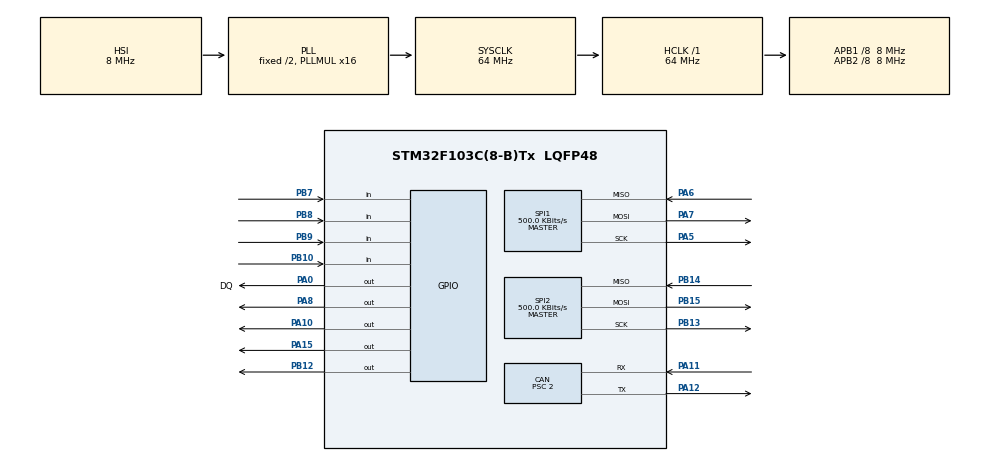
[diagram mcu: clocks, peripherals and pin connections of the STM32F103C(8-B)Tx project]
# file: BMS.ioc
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CAN.BS1=CAN_BS1_4TQ
CAN.BS2=CAN_BS2_3TQ
CAN.CalculateBaudRate=500000
CAN.CalculateTimeBit=2000
CAN.CalculateTimeQuantum=250.0
CAN.Prescaler=2
Mcu.Family=STM32F1
Mcu.Name=STM32F103C(8-B)Tx
Mcu.Package=LQFP48
NVIC.PriorityGroup=NVIC_PRIORITYGROUP_4
NVIC.TIM2_IRQn=true\:0\:0\:false\:false\:true\:true\:true\:true
NVIC.USB_LP_CAN1_RX0_IRQn=true\:0\:0\:false\:false\:true\:true\:true\:true
PA0-WKUP.GPIO_Label=DQ
PA0-WKUP.Signal=GPIO_Output
PA10.Signal=GPIO_Output
PA11.Mode=CAN_Activate
PA11.Signal=CAN_RX
PA12.Mode=CAN_Activate
PA12.Signal=CAN_TX
PA13.Mode=Trace_Asynchronous_SW
PA13.Signal=SYS_JTMS-SWDIO
PA14.Mode=Trace_Asynchronous_SW
PA14.Signal=SYS_JTCK-SWCLK
PA15.Signal=GPIO_Output
PA5.Mode=Full_Duplex_Master
PA5.Signal=SPI1_SCK
PA6.Mode=Full_Duplex_Master
PA6.Signal=SPI1_MISO
PA7.Mode=Full_Duplex_Master
PA7.Signal=SPI1_MOSI
PA8.PinState=GPIO_PIN_SET
PA8.Signal=GPIO_Output
PB10.GPIO_PuPd=GPIO_PULLUP
PB10.Signal=GPIO_Input
PB12.PinState=GPIO_PIN_SET
PB12.Signal=GPIO_Output
PB13.Mode=Full_Duplex_Master
PB13.Signal=SPI2_SCK
PB14.Mode=Full_Duplex_Master
PB14.Signal=SPI2_MISO
PB15.Mode=Full_Duplex_Master
PB15.Signal=SPI2_MOSI
PB3.Mode=Trace_Asynchronous_SW
PB3.Signal=SYS_JTDO-TRACESWO
PB7.GPIO_PuPd=GPIO_PULLUP
PB7.Signal=GPIO_Input
PB8.GPIO_PuPd=GPIO_PULLUP
PB8.Signal=GPIO_Input
PB9.GPIO_PuPd=GPIO_PULLUP
PB9.Signal=GPIO_Input
PD0-OSC_IN.Mode=HSE-External-Oscillator
PD0-OSC_IN.Signal=RCC_OSC_IN
PD1-OSC_OUT.Mode=HSE-External-Oscillator
PD1-OSC_OUT.Signal=RCC_OSC_OUT
ProjectManager.HeapSize=0x200
ProjectManager.StackSize=0x400
ProjectManager.TargetToolchain=STM32CubeIDE
RCC.AHBFreq_Value=64000000
RCC.APB1CLKDivider=RCC_HCLK_DIV8
RCC.APB1Freq_Value=8000000
RCC.APB1TimFreq_Value=16000000
RCC.APB2CLKDivider=RCC_HCLK_DIV8
RCC.APB2Freq_Value=8000000
RCC.APB2TimFreq_Value=16000000
RCC.HCLKFreq_Value=64000000
RCC.PLLMUL=RCC_PLL_MUL16
RCC.SYSCLKFreq_VALUE=64000000
RCC.SYSCLKSource=RCC_SYSCLKSOURCE_PLLCLK
RCC.USBFreq_Value=64000000
SPI1.BaudRatePrescaler=SPI_BAUDRATEPRESCALER_16
SPI1.CLKPhase=SPI_PHASE_2EDGE
SPI1.CLKPolarity=SPI_POLARITY_HIGH
SPI1.CRCCalculation=SPI_CRCCALCULATION_DISABLE
SPI1.CalculateBaudRate=500.0 KBits/s
SPI1.Direction=SPI_DIRECTION_2LINES
SPI1.Mode=SPI_MODE_MASTER
SPI1.VirtualType=VM_MASTER
SPI2.BaudRatePrescaler=SPI_BAUDRATEPRESCALER_16
SPI2.CLKPhase=SPI_PHASE_2EDGE
SPI2.CLKPolarity=SPI_POLARITY_HIGH
SPI2.CalculateBaudRate=500.0 KBits/s
SPI2.Direction=SPI_DIRECTION_2LINES
SPI2.Mode=SPI_MODE_MASTER
SPI2.VirtualType=VM_MASTER
TIM1.Prescaler=16-1
TIM2.Period=200 - 1
TIM2.Prescaler=64000 - 1
VP_TIM1_VS_ClockSourceINT.Mode=Internal
VP_TIM2_VS_ClockSourceINT.Mode=Internal
board=custom

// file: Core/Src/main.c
/* USER CODE BEGIN Header */
/**
 ******************************************************************************
 * @file           : main.c
 * @brief          : Main program body
 ******************************************************************************
 * @attention
 *
 * Copyright (c) 2024 STMicroelectronics.
 * All rights reserved.
 *
 * This software is licensed under terms that can be found in the LICENSE file
 * in the root directory of this software component.
 * If no LICENSE file comes with this software, it is provided AS-IS.
 *
 ******************************************************************************
 */
/* USER CODE END Header */
#include "main.h"

/* USER CODE BEGIN Includes */
#include "ds18b20.h"
#include "delay.h"
#include "LTC6802-2.h"
#include <string.h>
#include <stdbool.h>

/* USER CODE END Includes */

/* USER CODE BEGIN PD */
#define CORRECTION 6
#define LOW_LTC_CORRECTION 6  // Calibration to account for voltage drop through buffer resistors and LTC6802 variations
#define HIGH_LTC_CORRECTION 6 // Typical value is about 6 for both of these, but may be +/-3mV in some cases
#define BASE_ID 300			  // Starting ID used for BMS module messaging to/from EVMS
#define USE_29BIT_IDS 0		  // Or 0 for 11-bit IDs
enum {
	BMS12_REQUEST_DATA, BMS12_REPLY1, BMS12_REPLY2, BMS12_REPLY3, BMS12_REPLY4
};

#define true 1
#define false 0

// Inputs from hex rotary pot for module ID selection

#define MOD_ID_NUM1 (HAL_GPIO_ReadPin(GPIOB, GPIO_PIN_10) == GPIO_PIN_RESET)
#define MOD_ID_NUM2 (HAL_GPIO_ReadPin(GPIOB, GPIO_PIN_9) == GPIO_PIN_RESET)
#define MOD_ID_NUM4 (HAL_GPIO_ReadPin(GPIOB, GPIO_PIN_8) == GPIO_PIN_RESET)
#define MOD_ID_NUM8 (HAL_GPIO_ReadPin(GPIOB, GPIO_PIN_7) == GPIO_PIN_RESET)

#define cellRegisters 19

#define maxCells 24
#define maxTemps 38

#define COMMS_TIMEOUT 16

#define LTC6802_CS1_GPIO_PORT GPIOA
#define LTC6802_CS1_GPIO_PIN GPIO_PIN_8

#define LTC6802_CS2_GPIO_PORT GPIOB
#define LTC6802_CS2_GPIO_PIN GPIO_PIN_12

#define BALANCE_HYST_ON 100
#define BALANCE_HYST_OFF 50

/* USER CODE END PD */

CAN_HandleTypeDef hcan;

SPI_HandleTypeDef hspi1;
SPI_HandleTypeDef hspi2;

TIM_HandleTypeDef htim1;
TIM_HandleTypeDef htim2;

/* USER CODE BEGIN PV */

// LTC6802 Command codes
const uint8_t WRCFG = 0x01;
const uint8_t RDCFG = 0x02;
const uint8_t RDCV = 0x04;
const uint8_t RDTMP = 0x08;
const uint8_t STCVAD = 0x10;
const uint8_t STTMPAD = 0x30;
const uint8_t PLADC = 0x40;
const uint8_t STCVDC = 0x50;
const uint8_t STOWDC = 0x70;
const uint8_t STOWAD = 0x20;

CAN_TxHeaderTypeDef txHeader;
CAN_RxHeaderTypeDef rxHeader;

uint8_t rxData[8];							  // CAN receive buffer
uint8_t txData[8] = { 0, 0, 0, 0, 0, 0, 0, 0 }; // CAN transmit buffer

uint32_t TxMailBox;

volatile uint8_t voltagesRequested = false;		// Voltages
volatile uint8_t temperaturesRequested = false; // Temperatures
volatile uint8_t rawValuesRequested = false;
volatile uint8_t selfTestRequested = false;
volatile uint8_t selfTest2Requested = false;
volatile uint8_t sendSensorROMs = false;

volatile uint8_t tempConversionInProgress = 0;
volatile uint8_t tempReadReady = 0;

uint16_t moduleID = 0;

int data_counter = 0;

uint32_t commsTimer = 0;

float temp[maxTemps];		 // In deg C
uint16_t voltages[maxCells]; // In millivolts

volatile uint16_t shuntVoltage; // In millivolts
uint32_t shuntBits;

uint8_t ds18b20_flag = 0;

TM_OneWire_t OneWire1;

uint8_t devices, sensor_count;
static uint8_t device[maxTemps][8];
/* USER CODE END PV */

void SystemClock_Config(void);
static void MX_GPIO_Init(void);
static void MX_CAN_Init(void);
static void MX_SPI1_Init(void);
static void MX_TIM1_Init(void);
static void MX_SPI2_Init(void);
static void MX_TIM2_Init(void);
/* USER CODE BEGIN PFP */
void GetModuleID(void);
void PubModuleID(void);
void Delay_us(uint16_t us);
void SPIWrite(SPI_HandleTypeDef *hspi, uint8_t data);
void SPIRead(SPI_HandleTypeDef *hspi, uint8_t cmd, uint8_t numRegisters,
		uint8_t *const buff);
void waitForADCComplete(SPI_HandleTypeDef *hspi, GPIO_TypeDef *cs_port,
		uint16_t cs_pin);
bool readCellValues(SPI_HandleTypeDef *hspi, GPIO_TypeDef *cs_port,
		uint16_t cs_pin, uint8_t *buff);
void decodeCellVoltages(const uint8_t *cellBytes, uint16_t *voltages_mV,
		int offset, float shuntVoltage, uint32_t *shuntBits);
void updateLEDStatus(uint16_t *voltages, int num_cells, uint16_t shuntBits,
		uint8_t slowCounter, uint32_t commsTimer, uint32_t comms_timeout,
		uint16_t shuntVoltage);
static inline uint8_t calculatePEC(const uint8_t *data, uint8_t len);
void RunSelfTest(uint8_t *cellBytes1, uint8_t *cellBytes2, uint8_t testCommand);
void configureLTC(SPI_HandleTypeDef *hspi, GPIO_TypeDef *cs_port,
		uint16_t cs_pin, uint32_t shuntBits, uint8_t activeCells);
void startConversion(SPI_HandleTypeDef *hspi, GPIO_TypeDef *cs_port,
		uint16_t cs_pin);

void DS18B20_StartConversion(void);
void DS18B20_ReadTemperatures(void);

/* USER CODE END PFP */

int main(void) {

	/* MCU Configuration--------------------------------------------------------*/

	/* Reset of all peripherals, Initializes the Flash interface and the Systick. */
	HAL_Init();

	/* Configure the system clock */
	SystemClock_Config();

	/* Initialize all configured peripherals */
	MX_GPIO_Init();
	MX_CAN_Init();
	MX_SPI1_Init();
	MX_TIM1_Init();
	MX_SPI2_Init();
	MX_TIM2_Init();
	/* USER CODE BEGIN 2 */
	HAL_TIM_Base_Start_IT(&htim1);
	HAL_TIM_Base_Start_IT(&htim2);
	HAL_CAN_Start(&hcan);
	if (HAL_CAN_ActivateNotification(&hcan, CAN_IT_RX_FIFO0_MSG_PENDING)
			!= HAL_OK) {
		Error_Handler();
	}

	GetModuleID();

	PubModuleID();
	TM_OneWire_Init(&OneWire1, GPIOA, DQ_Pin);

	for (int n = 0; n < maxCells; n++)
		voltages[n] = 0;
	for (int n = 0; n < maxTemps; n++)
		temp[n] = 0;

	uint8_t cellBytes1[cellRegisters];
	uint8_t cellBytes2[cellRegisters];
	for (int n = 0; n < cellRegisters; n++) {
		cellBytes1[n] = 0;
		cellBytes2[n] = 0;
	}
	// int voltages[24][8]; //De momento no hacemos la media
	uint8_t counter = 0;
	uint8_t slowCounter = 0;

	/* Check for any device on 1-wire bus*/

	sensor_count = 0;
	devices = TM_OneWire_First(&OneWire1);
	while (devices && sensor_count <= maxTemps) {
		TM_OneWire_GetFullROM(&OneWire1, device[sensor_count]);
		sensor_count++;
		devices = TM_OneWire_Next(&OneWire1);
	}

	// Set 9bit resolution for all sensors (93.75ms max conversion time)

	for (int i = 0; i < sensor_count; i++) {
		TM_DS18B20_SetResolution(&OneWire1, device[i],
				TM_DS18B20_Resolution_9bits);
	}

	// Calculates the necessary CAN packets for sending all the temperatures
	uint8_t n_packets_temps = sensor_count / 8 + ((sensor_count % 8) ? 1 : 0);

	/* USER CODE END 2 */

	/* Infinite loop */
	/* USER CODE BEGIN WHILE */
	while (1) {

		// Split up the 32-bit shuntBits variable into two 12-bit chunks for each LTC
		uint32_t shuntBitsL = shuntBits & 0x0FFF; // Lower 12 bits
		uint32_t shuntBitsH = shuntBits >> 12; // Upper 12 bits
		// Configure LTC6802 1 (HV-)

		configureLTC(&hspi1, LTC6802_CS1_GPIO_PORT, LTC6802_CS1_GPIO_PIN,
				shuntBitsL, 9);  // HV−
		configureLTC(&hspi2, LTC6802_CS2_GPIO_PORT, LTC6802_CS2_GPIO_PIN,
				shuntBitsH, 10); // HV+

		// Start voltage sampling
		startConversion(&hspi1, LTC6802_CS1_GPIO_PORT, LTC6802_CS1_GPIO_PIN);
		startConversion(&hspi2, LTC6802_CS2_GPIO_PORT, LTC6802_CS2_GPIO_PIN);

		// Wait for ADC conversion
		waitForADCComplete(&hspi1, LTC6802_CS1_GPIO_PORT, LTC6802_CS1_GPIO_PIN);
		waitForADCComplete(&hspi2, LTC6802_CS2_GPIO_PORT, LTC6802_CS2_GPIO_PIN);

		// Read cell voltage registers HV-
		if (readCellValues(&hspi1, LTC6802_CS1_GPIO_PORT, LTC6802_CS1_GPIO_PIN,
				cellBytes1)) {
			decodeCellVoltages(cellBytes1, voltages, 0, shuntVoltage,
					&shuntBits);
		}

		if (readCellValues(&hspi2, LTC6802_CS2_GPIO_PORT, LTC6802_CS2_GPIO_PIN,
				cellBytes2)) {
			decodeCellVoltages(cellBytes2, voltages, 12, shuntVoltage,
					&shuntBits);
		}

		// Start temperature sampling on all devices

		if (tempReadReady) {
			DS18B20_ReadTemperatures();
			DS18B20_StartConversion();
		}

		counter++;

		if (counter >= 16) {
			counter = 0;
			slowCounter = (slowCounter + 1) % 4;

			updateLEDStatus(voltages, maxCells, shuntBits, slowCounter,
					commsTimer, COMMS_TIMEOUT, shuntVoltage);
		}

		if (commsTimer < COMMS_TIMEOUT)
			commsTimer++;
		else
			shuntVoltage = 0;

		if (voltagesRequested) {
			voltagesRequested = false;
			commsTimer = 0;

			uint16_t voltagesValid[19];
			int idx = 0;

			// Copy 9 cell readings from HV-
			for (int i = 0; i < 9; i++) {
				voltagesValid[idx++] = voltages[i];
			}

			// Copy 10 cell readings from HV+
			for (int i = 12; i < 22; i++) {
				voltagesValid[idx++] = voltages[i];
			}

			// Send 5 packets
			for (int packet = 0; packet < 5; packet++) {
				for (int n = 0; n < 4; n++) {
					int vidx = packet * 4 + n;
					if (vidx < 19) {
						uint16_t voltageInt = voltagesValid[vidx];
						txData[n * 2] = voltageInt >> 8;
						txData[n * 2 + 1] = voltageInt & 0xFF;
					} else {
						txData[n * 2] = 0;
						txData[n * 2 + 1] = 0;
					}
				}

				txHeader.DLC = 8;
				txHeader.IDE = CAN_ID_STD;
				txHeader.RTR = CAN_RTR_DATA;
				txHeader.StdId = moduleID + packet + 1;

				if (HAL_CAN_AddTxMessage(&hcan, &txHeader, txData, &TxMailBox)
						!= HAL_OK) {
					Error_Handler();
				}

				HAL_Delay(1);
			}
		} else if (temperaturesRequested) {
			temperaturesRequested = false;
			commsTimer = 0;

			for (int packet = 0; packet < n_packets_temps; packet++) {

				for (int i = 0; i < 8; i++) {
					if ((i + 8 * packet) < sensor_count) {
						txData[i] = temp[i + 8 * packet];
					} else {
						txData[i] = 0;
					}
				}

				txHeader.DLC = 8;
				txHeader.IDE = CAN_ID_STD;
				txHeader.RTR = CAN_RTR_DATA;
				txHeader.StdId = moduleID + 20 + packet + 1;

				if (HAL_CAN_AddTxMessage(&hcan, &txHeader, txData, &TxMailBox)
						!= HAL_OK) {
					Error_Handler();
				}

				HAL_Delay(1);
			}
		} else if (rawValuesRequested) {
			rawValuesRequested = false;
			commsTimer = 0;

			for (int packet = 0; packet < 3; packet++) {
				for (int i = 0; i < 6; i++) {
					txData[i] = cellBytes1[packet * 6 + i];
				}
				txData[6] = 0xC0 + packet;
				txData[7] = 0; // Padding

				txHeader.DLC = 8;
				txHeader.IDE = CAN_ID_STD;
				txHeader.RTR = CAN_RTR_DATA;
				txHeader.StdId = moduleID + 100 + packet;

				if (HAL_CAN_AddTxMessage(&hcan, &txHeader, txData, &TxMailBox)
						!= HAL_OK) {
					Error_Handler();
				}

				HAL_Delay(1);
			}

			for (int packet = 0; packet < 3; packet++) {
				for (int i = 0; i < 6; i++) {
					txData[i] = cellBytes2[packet * 6 + i];
				}
				txData[6] = 0xD0 + packet;
				txData[7] = 0;

				txHeader.StdId = moduleID + 110 + packet;

				if (HAL_CAN_AddTxMessage(&hcan, &txHeader, txData, &TxMailBox)
						!= HAL_OK) {
					Error_Handler();
				}

				HAL_Delay(1);
			}
		} else if (selfTestRequested) {
			selfTestRequested = false;
			commsTimer = 0;

			RunSelfTest(cellBytes1, cellBytes2, 0x1E);

			for (int packet = 0; packet < 3; packet++) {
				for (int i = 0; i < 6; i++) {
					txData[i] = cellBytes1[packet * 6 + i];
				}
				txData[6] = 0xE0 + packet; // etiqueta especial para Self Test
				txData[7] = 0;

				txHeader.StdId = moduleID + 120 + packet;
				txHeader.DLC = 8;
				txHeader.IDE = CAN_ID_STD;
				txHeader.RTR = CAN_RTR_DATA;

				if (HAL_CAN_AddTxMessage(&hcan, &txHeader, txData, &TxMailBox)
						!= HAL_OK) {
					Error_Handler();
				}
				HAL_Delay(1);
			}

			for (int packet = 0; packet < 3; packet++) {
				for (int i = 0; i < 6; i++) {
					txData[i] = cellBytes2[packet * 6 + i];
				}
				txData[6] = 0xF0 + packet;
				txData[7] = 0;

				txHeader.StdId = moduleID + 125 + packet;

				if (HAL_CAN_AddTxMessage(&hcan, &txHeader, txData, &TxMailBox)
						!= HAL_OK) {
					Error_Handler();
				}

				HAL_Delay(1);
			}
		} else if (selfTest2Requested) {
			selfTest2Requested = false;
			commsTimer = 0;

			RunSelfTest(cellBytes1, cellBytes2, 0x1F); // Self Test 2

			for (int packet = 0; packet < 3; packet++) {
				for (int i = 0; i < 6; i++) {
					txData[i] = cellBytes1[packet * 6 + i];
				}
				txData[6] = 0xD0 + packet; // etiqueta para Self Test 2 LTC1
				txData[7] = 0;

				txHeader.StdId = moduleID + 110 + packet;
				txHeader.DLC = 8;
				txHeader.IDE = CAN_ID_STD;
				txHeader.RTR = CAN_RTR_DATA;

				if (HAL_CAN_AddTxMessage(&hcan, &txHeader, txData, &TxMailBox)
						!= HAL_OK)
					Error_Handler();
			}

			for (int packet = 0; packet < 3; packet++) {
				for (int i = 0; i < 6; i++) {
					txData[i] = cellBytes2[packet * 6 + i];
				}
				txData[6] = 0xC0 + packet; // etiqueta para Self Test 2 LTC2
				txData[7] = 0;

				txHeader.StdId = moduleID + 115 + packet;

				if (HAL_CAN_AddTxMessage(&hcan, &txHeader, txData, &TxMailBox)
						!= HAL_OK) {
					Error_Handler();
				}

				HAL_Delay(1);
			}

		} else if (sendSensorROMs) {
			sendSensorROMs = false;

			for (int i = 0; i < sensor_count; i++) {
				for (int j = 0; j < 8; j++) {
					txData[j] = device[i][j];
				}

				txHeader.DLC = 8;
				txHeader.IDE = CAN_ID_STD;
				txHeader.RTR = CAN_RTR_DATA;
				txHeader.StdId = moduleID + 500 + i;

				if (HAL_CAN_AddTxMessage(&hcan, &txHeader, txData, &TxMailBox)
						!= HAL_OK) {
					Error_Handler();
				}

				HAL_Delay(1);
			}
		}

		else {
			HAL_Delay(4);
		}
	}
	/* USER CODE END WHILE */

}

void SystemClock_Config(void) {
	RCC_OscInitTypeDef RCC_OscInitStruct = { 0 };
	RCC_ClkInitTypeDef RCC_ClkInitStruct = { 0 };

	/** Initializes the RCC Oscillators according to the specified parameters
	 * in the RCC_OscInitTypeDef structure.
	 */
	RCC_OscInitStruct.OscillatorType = RCC_OSCILLATORTYPE_HSI;
	RCC_OscInitStruct.HSIState = RCC_HSI_ON;
	RCC_OscInitStruct.HSICalibrationValue = RCC_HSICALIBRATION_DEFAULT;
	RCC_OscInitStruct.PLL.PLLState = RCC_PLL_ON;
	RCC_OscInitStruct.PLL.PLLSource = RCC_PLLSOURCE_HSI_DIV2;
	RCC_OscInitStruct.PLL.PLLMUL = RCC_PLL_MUL16;
	if (HAL_RCC_OscConfig(&RCC_OscInitStruct) != HAL_OK) {
		Error_Handler();
	}

	/** Initializes the CPU, AHB and APB buses clocks
	 */
	RCC_ClkInitStruct.ClockType = RCC_CLOCKTYPE_HCLK | RCC_CLOCKTYPE_SYSCLK
			| RCC_CLOCKTYPE_PCLK1 | RCC_CLOCKTYPE_PCLK2;
	RCC_ClkInitStruct.SYSCLKSource = RCC_SYSCLKSOURCE_PLLCLK;
	RCC_ClkInitStruct.AHBCLKDivider = RCC_SYSCLK_DIV1;
	RCC_ClkInitStruct.APB1CLKDivider = RCC_HCLK_DIV8;
	RCC_ClkInitStruct.APB2CLKDivider = RCC_HCLK_DIV8;

	if (HAL_RCC_ClockConfig(&RCC_ClkInitStruct, FLASH_LATENCY_2) != HAL_OK) {
		Error_Handler();
	}
}

static void MX_CAN_Init(void) {

	hcan.Instance = CAN1;
	hcan.Init.Prescaler = 2;
	hcan.Init.Mode = CAN_MODE_NORMAL;
	hcan.Init.SyncJumpWidth = CAN_SJW_1TQ;
	hcan.Init.TimeSeg1 = CAN_BS1_4TQ;
	hcan.Init.TimeSeg2 = CAN_BS2_3TQ;
	hcan.Init.TimeTriggeredMode = DISABLE;
	hcan.Init.AutoBusOff = DISABLE;
	hcan.Init.AutoWakeUp = DISABLE;
	hcan.Init.AutoRetransmission = DISABLE;
	hcan.Init.ReceiveFifoLocked = DISABLE;
	hcan.Init.TransmitFifoPriority = DISABLE;
	if (HAL_CAN_Init(&hcan) != HAL_OK) {
		Error_Handler();
	}
	/* USER CODE BEGIN CAN_Init 2 */
	CAN_FilterTypeDef canfilterconfig;

	canfilterconfig.FilterActivation = CAN_FILTER_ENABLE;
	canfilterconfig.FilterBank = 0;
	canfilterconfig.FilterFIFOAssignment = CAN_FILTER_FIFO0;
	canfilterconfig.FilterIdHigh = 0;
	canfilterconfig.FilterIdLow = 0;
	canfilterconfig.FilterMaskIdHigh = 0;
	canfilterconfig.FilterMaskIdLow = 0;
	canfilterconfig.FilterMode = CAN_FILTERMODE_IDMASK;
	canfilterconfig.FilterScale = CAN_FILTERSCALE_32BIT;
	canfilterconfig.SlaveStartFilterBank = 0;

	HAL_CAN_ConfigFilter(&hcan, &canfilterconfig);

	/* USER CODE END CAN_Init 2 */

}

static void MX_SPI1_Init(void) {

	/* SPI1 parameter configuration*/
	hspi1.Instance = SPI1;
	hspi1.Init.Mode = SPI_MODE_MASTER;
	hspi1.Init.Direction = SPI_DIRECTION_2LINES;
	hspi1.Init.DataSize = SPI_DATASIZE_8BIT;
	hspi1.Init.CLKPolarity = SPI_POLARITY_HIGH;
	hspi1.Init.CLKPhase = SPI_PHASE_2EDGE;
	hspi1.Init.NSS = SPI_NSS_SOFT;
	hspi1.Init.BaudRatePrescaler = SPI_BAUDRATEPRESCALER_16;
	hspi1.Init.FirstBit = SPI_FIRSTBIT_MSB;
	hspi1.Init.TIMode = SPI_TIMODE_DISABLE;
	hspi1.Init.CRCCalculation = SPI_CRCCALCULATION_DISABLE;
	hspi1.Init.CRCPolynomial = 10;
	if (HAL_SPI_Init(&hspi1) != HAL_OK) {
		Error_Handler();
	}

}

static void MX_SPI2_Init(void) {

	/* SPI2 parameter configuration*/
	hspi2.Instance = SPI2;
	hspi2.Init.Mode = SPI_MODE_MASTER;
	hspi2.Init.Direction = SPI_DIRECTION_2LINES;
	hspi2.Init.DataSize = SPI_DATASIZE_8BIT;
	hspi2.Init.CLKPolarity = SPI_POLARITY_HIGH;
	hspi2.Init.CLKPhase = SPI_PHASE_2EDGE;
	hspi2.Init.NSS = SPI_NSS_SOFT;
	hspi2.Init.BaudRatePrescaler = SPI_BAUDRATEPRESCALER_16;
	hspi2.Init.FirstBit = SPI_FIRSTBIT_MSB;
	hspi2.Init.TIMode = SPI_TIMODE_DISABLE;
	hspi2.Init.CRCCalculation = SPI_CRCCALCULATION_DISABLE;
	hspi2.Init.CRCPolynomial = 10;
	if (HAL_SPI_Init(&hspi2) != HAL_OK) {
		Error_Handler();
	}

}

static void MX_TIM1_Init(void) {

	TIM_ClockConfigTypeDef sClockSourceConfig = { 0 };
	TIM_MasterConfigTypeDef sMasterConfig = { 0 };

	htim1.Instance = TIM1;
	htim1.Init.Prescaler = 16 - 1;
	htim1.Init.CounterMode = TIM_COUNTERMODE_UP;
	htim1.Init.Period = 65535;
	htim1.Init.ClockDivision = TIM_CLOCKDIVISION_DIV1;
	htim1.Init.RepetitionCounter = 0;
	htim1.Init.AutoReloadPreload = TIM_AUTORELOAD_PRELOAD_DISABLE;
	if (HAL_TIM_Base_Init(&htim1) != HAL_OK) {
		Error_Handler();
	}
	sClockSourceConfig.ClockSource = TIM_CLOCKSOURCE_INTERNAL;
	if (HAL_TIM_ConfigClockSource(&htim1, &sClockSourceConfig) != HAL_OK) {
		Error_Handler();
	}
	sMasterConfig.MasterOutputTrigger = TIM_TRGO_RESET;
	sMasterConfig.MasterSlaveMode = TIM_MASTERSLAVEMODE_DISABLE;
	if (HAL_TIMEx_MasterConfigSynchronization(&htim1, &sMasterConfig)
			!= HAL_OK) {
		Error_Handler();
	}

}

static void MX_TIM2_Init(void) {

	TIM_ClockConfigTypeDef sClockSourceConfig = { 0 };
	TIM_MasterConfigTypeDef sMasterConfig = { 0 };

	htim2.Instance = TIM2;
	htim2.Init.Prescaler = 64000 - 1;
	htim2.Init.CounterMode = TIM_COUNTERMODE_UP;
	htim2.Init.Period = 100 - 1;
	htim2.Init.ClockDivision = TIM_CLOCKDIVISION_DIV1;
	htim2.Init.AutoReloadPreload = TIM_AUTORELOAD_PRELOAD_DISABLE;
	if (HAL_TIM_Base_Init(&htim2) != HAL_OK) {
		Error_Handler();
	}
	sClockSourceConfig.ClockSource = TIM_CLOCKSOURCE_INTERNAL;
	if (HAL_TIM_ConfigClockSource(&htim2, &sClockSourceConfig) != HAL_OK) {
		Error_Handler();
	}
	sMasterConfig.MasterOutputTrigger = TIM_TRGO_RESET;
	sMasterConfig.MasterSlaveMode = TIM_MASTERSLAVEMODE_DISABLE;
	if (HAL_TIMEx_MasterConfigSynchronization(&htim2, &sMasterConfig)
			!= HAL_OK) {
		Error_Handler();
	}

}

static void MX_GPIO_Init(void) {
	GPIO_InitTypeDef GPIO_InitStruct = { 0 };

	/* GPIO Ports Clock Enable */
	__HAL_RCC_GPIOD_CLK_ENABLE();
	__HAL_RCC_GPIOA_CLK_ENABLE();
	__HAL_RCC_GPIOB_CLK_ENABLE();

	/*Configure GPIO pin Output Level */
	HAL_GPIO_WritePin(GPIOA, DQ_Pin | GPIO_PIN_10 | GPIO_PIN_15,
			GPIO_PIN_RESET);

	/*Configure GPIO pin Output Level */
	HAL_GPIO_WritePin(GPIOB, GPIO_PIN_12, GPIO_PIN_SET);

	/*Configure GPIO pin Output Level */
	HAL_GPIO_WritePin(GPIOA, GPIO_PIN_8, GPIO_PIN_SET);

	/*Configure GPIO pins : DQ_Pin PA8 PA10 PA15 */
	GPIO_InitStruct.Pin = DQ_Pin | GPIO_PIN_8 | GPIO_PIN_10 | GPIO_PIN_15;
	GPIO_InitStruct.Mode = GPIO_MODE_OUTPUT_PP;
	GPIO_InitStruct.Pull = GPIO_NOPULL;
	GPIO_InitStruct.Speed = GPIO_SPEED_FREQ_LOW;
	HAL_GPIO_Init(GPIOA, &GPIO_InitStruct);

	/*Configure GPIO pins : PB10 PB7 PB8 PB9 */
	GPIO_InitStruct.Pin = GPIO_PIN_10 | GPIO_PIN_7 | GPIO_PIN_8 | GPIO_PIN_9;
	GPIO_InitStruct.Mode = GPIO_MODE_INPUT;
	GPIO_InitStruct.Pull = GPIO_PULLUP;
	HAL_GPIO_Init(GPIOB, &GPIO_InitStruct);

	/*Configure GPIO pin : PB12 */
	GPIO_InitStruct.Pin = GPIO_PIN_12;
	GPIO_InitStruct.Mode = GPIO_MODE_OUTPUT_PP;
	GPIO_InitStruct.Pull = GPIO_NOPULL;
	GPIO_InitStruct.Speed = GPIO_SPEED_FREQ_LOW;
	HAL_GPIO_Init(GPIOB, &GPIO_InitStruct);

}

/* USER CODE BEGIN 4 */

void HAL_CAN_RxFifo0MsgPendingCallback(CAN_HandleTypeDef *hcan) {
	CAN_RxHeaderTypeDef rxHeader;
	uint8_t rxData[8];

	if (HAL_CAN_GetRxMessage(hcan, CAN_RX_FIFO0, &rxHeader, rxData) != HAL_OK) {
		// Reception error
		Error_Handler();
	}

// Process received data
	uint32_t rxPacketID = rxHeader.StdId;
	if (USE_29BIT_IDS) {
		rxPacketID = rxHeader.ExtId;
	}

	if (rxPacketID == moduleID) {
		shuntVoltage = (rxData[0] << 8) + rxData[1];
		voltagesRequested = true;
	}

	if (rxPacketID == moduleID + 20) {
		temperaturesRequested = true;
	}

	if (rxPacketID == moduleID + 25) {
		rawValuesRequested = true;
	}

	if (rxPacketID == moduleID + 200) {
		sendSensorROMs = true;
	}

	if (rxPacketID == moduleID + 15) {
		selfTestRequested = true;
	}

	else if (rxPacketID == moduleID + 16) {
		selfTest2Requested = true;
	}
}

void GetModuleID(void) {
	uint8_t rotarySwitch = 0;

	if (MOD_ID_NUM1)
		rotarySwitch += 1;
	if (MOD_ID_NUM2)
		rotarySwitch += 2;
	if (MOD_ID_NUM4)
		rotarySwitch += 4;
	if (MOD_ID_NUM8)
		rotarySwitch += 8;

	moduleID = BASE_ID + rotarySwitch * 30; // Atomic enough for 8-bit on STM32F1
}

void PubModuleID(void) {
	txHeader.DLC = 8;
	txHeader.IDE = CAN_ID_STD;
	txHeader.RTR = CAN_RTR_DATA;
	txHeader.StdId = moduleID;

	if (HAL_CAN_AddTxMessage(&hcan, &txHeader, txData, &TxMailBox) != HAL_OK) {
		Error_Handler();
	}

	HAL_Delay(1);
}

/*void Delay_us(uint16_t us) {
 __HAL_TIM_SET_COUNTER(&htim1, 0);
 while (__HAL_TIM_GET_COUNTER(&htim1) < us)
 ;
 }*/

void HAL_TIM_PeriodElapsedCallback(TIM_HandleTypeDef *htim) {
	if (htim->Instance == TIM2) {
		HAL_TIM_Base_Stop_IT(&htim2);
		tempReadReady = 1;
		tempConversionInProgress = 0;
	}
}

void SPIWrite(SPI_HandleTypeDef *hspi, uint8_t cmd) {
	HAL_SPI_Transmit(hspi, (uint8_t*) &cmd, 1, HAL_MAX_DELAY);
}

void SPIRead(SPI_HandleTypeDef *hspi, uint8_t cmd, uint8_t numRegisters,
		uint8_t *const buff) {

// Send command to read data
	HAL_SPI_Transmit(hspi, &cmd, 1, HAL_MAX_DELAY);

// Read the data registers
	HAL_SPI_Receive(hspi, buff, numRegisters, HAL_MAX_DELAY);
}

void waitForADCComplete(SPI_HandleTypeDef *hspi, GPIO_TypeDef *cs_port,
		uint16_t cs_pin) {
	uint8_t cmd = 0x40; // PLADC (Poll ADC Conversion Status)
	uint8_t response = 0x00;

	do {
		HAL_GPIO_WritePin(cs_port, cs_pin, GPIO_PIN_RESET);
		HAL_SPI_Transmit(hspi, &cmd, 1, HAL_MAX_DELAY);
		HAL_SPI_Receive(hspi, &response, 1, HAL_MAX_DELAY);
		HAL_GPIO_WritePin(cs_port, cs_pin, GPIO_PIN_SET);
	} while (response == 0x00); // Mientras el ADC esté ocupado
}

bool readCellValues(SPI_HandleTypeDef *hspi, GPIO_TypeDef *cs_port,
		uint16_t cs_pin, uint8_t *buff) {
	uint8_t tx[2] = { 0x80, RDCV }; // Address + command
	HAL_GPIO_WritePin(cs_port, cs_pin, GPIO_PIN_RESET);
	HAL_SPI_Transmit(hspi, tx, 2, HAL_MAX_DELAY);
	HAL_SPI_Receive(hspi, buff, 19, HAL_MAX_DELAY);
	HAL_GPIO_WritePin(cs_port, cs_pin, GPIO_PIN_SET);

	uint8_t pec_received = buff[18];
	uint8_t pec_calc = calculatePEC(buff, 18);

	return pec_received == pec_calc;
}

void decodeCellVoltages(const uint8_t *cellBytes, uint16_t *voltages_mV,
		int offset, float shuntVoltage, uint32_t *shuntBits) {
	int correction = (offset == 0) ? LOW_LTC_CORRECTION : HIGH_LTC_CORRECTION;

	for (int i = 0; i < 6; i++) {
		int idx = i * 3;

		uint16_t adc1 = cellBytes[idx] + ((cellBytes[idx + 1] & 0x0F) << 8);
		uint16_t adc2 = ((cellBytes[idx + 1] >> 4) & 0x0F)
				+ (cellBytes[idx + 2] << 4);

		int c1 = offset + i * 2;
		int c2 = offset + i * 2 + 1;

		float v1 = adc1 * 1.5f;
		float v2 = adc2 * 1.5f;

		if (v1 > 0) {
			v1 += correction;
			if (c1 == 0 || c1 == 12)
				v1 -= correction / 2.0f;
		}
		if (v2 > 0) {
			v2 += correction;
			if (c2 == 0 || c2 == 12)
				v2 -= correction / 2.0f;
		}

		voltages_mV[c1] = (v1 <= 5000.0f) ? v1 : 0.0f;
		voltages_mV[c2] = (v2 <= 5000.0f) ? v2 : 0.0f;

		if (v1 > shuntVoltage + BALANCE_HYST_ON && shuntVoltage > 0) {
			*shuntBits |= (1 << c1);
		} else if (v1 < shuntVoltage + BALANCE_HYST_OFF) {
			*shuntBits &= ~(1 << c1);
		}

		if (v2 > shuntVoltage + BALANCE_HYST_ON && shuntVoltage > 0) {
			*shuntBits |= (1 << c2);
		} else if (v2 < shuntVoltage + BALANCE_HYST_OFF) {
			*shuntBits &= ~(1 << c2);
		}

	}
}

static inline uint8_t calculatePEC(const uint8_t *data, uint8_t len) {
	uint8_t crc = 0x00;
	for (uint8_t i = 0; i < len; i++) {
		crc ^= data[i];
		for (uint8_t j = 0; j < 8; j++) {
			if (crc & 0x80)
				crc = (crc << 1) ^ 0x07;
			else
				crc <<= 1;
		}
	}
	return crc;
}

void RunSelfTest(uint8_t *cellBytes1, uint8_t *cellBytes2, uint8_t testCommand) {
// Enviar comando de Self Test
	HAL_GPIO_WritePin(LTC6802_CS1_GPIO_PORT, LTC6802_CS1_GPIO_PIN,
			GPIO_PIN_RESET);
	SPIWrite(&hspi1, testCommand);
	HAL_GPIO_WritePin(LTC6802_CS1_GPIO_PORT, LTC6802_CS1_GPIO_PIN,
			GPIO_PIN_SET);

	HAL_GPIO_WritePin(LTC6802_CS2_GPIO_PORT, LTC6802_CS2_GPIO_PIN,
			GPIO_PIN_RESET);
	SPIWrite(&hspi2, testCommand);
	HAL_GPIO_WritePin(LTC6802_CS2_GPIO_PORT, LTC6802_CS2_GPIO_PIN,
			GPIO_PIN_SET);

	HAL_Delay(20);

// Leer registros de celdas
	readCellValues(&hspi1, LTC6802_CS1_GPIO_PORT, LTC6802_CS1_GPIO_PIN,
			cellBytes1);
	readCellValues(&hspi2, LTC6802_CS2_GPIO_PORT, LTC6802_CS2_GPIO_PIN,
			cellBytes2);
}

void updateLEDStatus(uint16_t *voltages, int num_cells, uint16_t shuntBits,
		uint8_t slowCounter, uint32_t commsTimer, uint32_t comms_timeout,
		uint16_t shuntVoltage) {
	char notAllZeroVolts = false;

	for (int n = 0; n < num_cells; n++) {
		if (voltages[n] > 0)
			notAllZeroVolts = true;
	}

// LEDs default: Green ON, Red OFF
	HAL_GPIO_WritePin(GPIOA, GPIO_PIN_15, GPIO_PIN_SET);   // Green ON
	HAL_GPIO_WritePin(GPIOA, GPIO_PIN_10, GPIO_PIN_RESET); // Red OFF

	if ((shuntBits != 0) && (slowCounter & 0x01)) {
		HAL_GPIO_WritePin(GPIOA, GPIO_PIN_10, GPIO_PIN_SET); // Red blinking - balancing
	} else if (!notAllZeroVolts) {
		HAL_GPIO_WritePin(GPIOA, GPIO_PIN_15, GPIO_PIN_RESET); // Green OFF
		if (slowCounter & 0x01)
			HAL_GPIO_WritePin(GPIOA, GPIO_PIN_10, GPIO_PIN_SET); // Red blinking - no cells
	} else if ((commsTimer == COMMS_TIMEOUT) && (slowCounter & 0x01)) {
		HAL_GPIO_WritePin(GPIOA, GPIO_PIN_15, GPIO_PIN_RESET); // Green blinkng - no CAN comunication
	}
}

void configureLTC(SPI_HandleTypeDef *hspi, GPIO_TypeDef *cs_port,
		uint16_t cs_pin, uint32_t shuntBits, uint8_t activeCells) {
	uint8_t mask = 0x00;

// Bits 6,5,4 de CFGR3 → MASK_C12, MASK_C11, MASK_C10
	switch (activeCells) {
	case 12:
		mask = 0b00000000;
		break;
	case 11:
		mask = 0b00100000; // MASK_C12 = 1
		break;
	case 10:
		mask = 0b01100000; // MASK_C12 + MASK_C11 = 1
		break;
	case 9:
		mask = 0b01110000; // MASK_C12 + MASK_C11 + MASK_C10 = 1
		break;
	default:
		mask = 0b00000000;
		break;
	}

	uint8_t wrbuf[6] = { 0x01,				// CFGR0 (normal mode, reference ON)
			(uint8_t) (shuntBits & 0x00FF), // CFGR1
			(uint8_t) (shuntBits >> 8),	 // CFGR2
			mask,						 // CFGR3 (cell mask)
			0x00,						 // CFGR4 (VUV)
			0x00						 // CFGR5 (VOV)
			};

	uint8_t tx[2] = { 0x80, WRCFG }; // Broadcast WRCFG

	HAL_GPIO_WritePin(cs_port, cs_pin, GPIO_PIN_RESET);
	HAL_SPI_Transmit(hspi, tx, 2, HAL_MAX_DELAY);
	HAL_SPI_Transmit(hspi, wrbuf, 6, HAL_MAX_DELAY);
	HAL_GPIO_WritePin(cs_port, cs_pin, GPIO_PIN_SET);

	HAL_Delay(5);
}

void startConversion(SPI_HandleTypeDef *hspi, GPIO_TypeDef *cs_port,
		uint16_t cs_pin) {
	HAL_GPIO_WritePin(cs_port, cs_pin, GPIO_PIN_RESET);
	SPIWrite(hspi, STCVAD); // Start cell voltage ADC
	HAL_GPIO_WritePin(cs_port, cs_pin, GPIO_PIN_SET);
}

void DS18B20_ReadTemperatures(void) {
	for (int i = 0; i < sensor_count; i++) {
		TM_DS18B20_Read(&OneWire1, device[i], &temp[i]);
	}
	tempReadReady = 0;

}

void DS18B20_StartConversion(void) {
	if (tempConversionInProgress)
		return;

	TM_DS18B20_StartAll(&OneWire1);
	tempConversionInProgress = 1;
	tempReadReady = 0;

	__HAL_TIM_SET_COUNTER(&htim2, 0);
	HAL_TIM_Base_Start_IT(&htim2);
}

/* USER CODE END 4 */

void Error_Handler(void) {
	__disable_irq();
	while (1) {
	}
}
